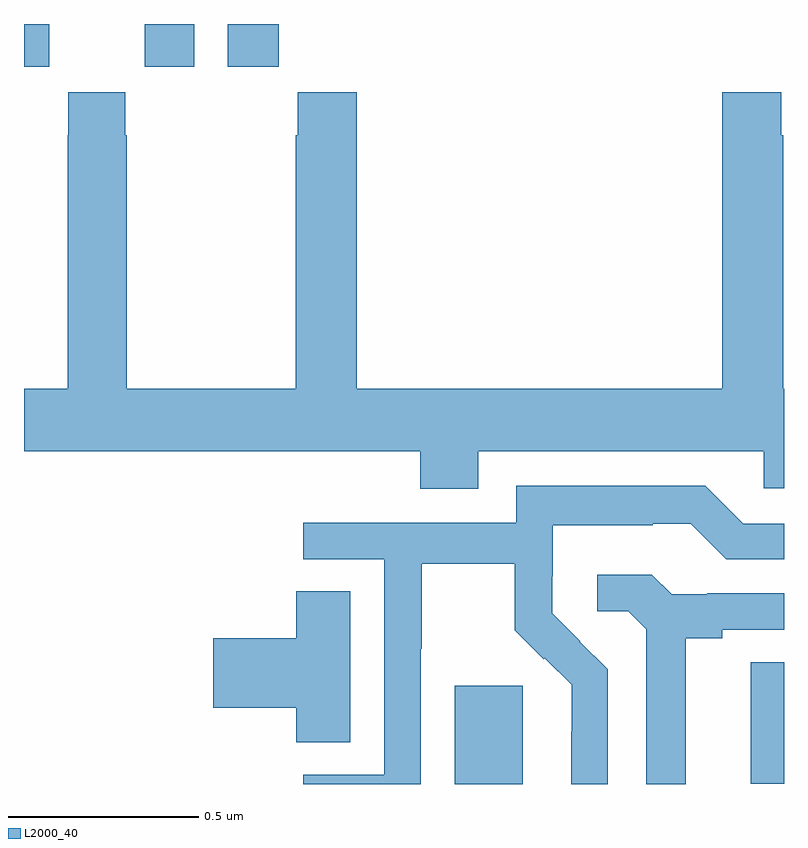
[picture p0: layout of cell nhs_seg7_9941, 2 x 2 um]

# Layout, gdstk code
import gdstk
lib = gdstk.Library(unit=1e-6, precision=1e-09)
def R(c, l, rs):  # rectangles x0, y0, x1, y1
    for r in rs: c.add(gdstk.rectangle(r[:2], r[2:], *l))
def P(c, l, *ps):  # polygons
    for p in ps: c.add(gdstk.Polygon(p, *l))
L2000_40 = (2000, 40)

nhs_seg7_9941 = lib.new_cell('nhs_seg7_9941')
R(nhs_seg7_9941, L2000_40, [(244.133,1073,244.312,1073.259), (244.913,1073.001,245,1073.321), (243,1074.888,243.066,1075), (243.318,1074.888,243.448,1075), (243.536,1074.888,243.67,1075)])
P(nhs_seg7_9941, L2000_40, [(244.195,1073.876),(244.947,1073.876),(244.947,1073.778),(245,1073.778),(245,1074.04),(244.998,1074.04),(244.998,1074.707),(244.993,1074.707),(244.993,1074.82),(244.838,1074.82),(244.838,1074.04),(243.875,1074.04),(243.875,1074.82),(243.721,1074.82),(243.721,1074.707),(243.715,1074.707),(243.715,1074.04),(243.27,1074.04),(243.27,1074.707),(243.267,1074.707),(243.267,1074.82),(243.117,1074.82),(243.117,1074.707),(243.115,1074.707),(243.115,1074.04),(243,1074.04),(243,1073.876),(244.043,1073.876),(244.043,1073.777),(244.195,1073.777)],
  [(244.044,1073.356),(244.047,1073.356),(244.047,1073.58),(244.291,1073.58),(244.291,1073.405),(244.368,1073.328),(244.371,1073.331),(244.442,1073.261),(244.442,1073.138),(244.44,1073.138),(244.44,1073),(244.536,1073),(244.536,1073.302),(244.463,1073.375),(244.464,1073.376),(244.39,1073.45),(244.39,1073.547),(244.392,1073.547),(244.392,1073.681),(244.655,1073.681),(244.655,1073.685),(244.755,1073.685),(244.848,1073.592),(245,1073.592),(245,1073.685),(244.893,1073.685),(244.793,1073.785),(244.296,1073.785),(244.296,1073.688),(243.735,1073.688),(243.735,1073.592),(243.948,1073.592),(243.948,1073.025),(243.735,1073.025),(243.735,1073),(244.044,1073)],
  [(244.741,1073.384),(244.837,1073.384),(244.837,1073.406),(245,1073.406),(245,1073.502),(244.798,1073.502),(244.798,1073.499),(244.704,1073.499),(244.652,1073.551),(244.509,1073.551),(244.509,1073.454),(244.59,1073.454),(244.637,1073.407),(244.637,1073),(244.741,1073)],
  [(243.859,1073.507),(243.716,1073.507),(243.716,1073.384),(243.498,1073.384),(243.498,1073.201),(243.716,1073.201),(243.716,1073.11),(243.859,1073.11)])

lib.write_gds('nhs_seg7_9941.gds')
